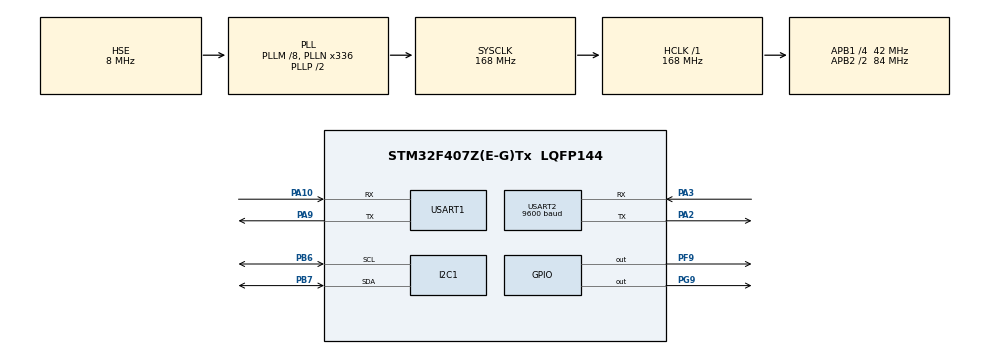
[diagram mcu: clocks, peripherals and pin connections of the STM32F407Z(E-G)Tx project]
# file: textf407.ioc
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FREERTOS.Mutexes01=myI2CMutex,Dynamic,NULL,Available
FREERTOS.Tasks01=SensorTask,1,1024,StartSensorTask,Default,NULL,Dynamic,NULL,NULL;DisplayTask,-2,512,StartDisplayTask,Default,NULL,Dynamic,NULL,NULL;CommTask,0,512,StartCommTask,Default,NULL,Dynamic,NULL,NULL
FREERTOS.configTOTAL_HEAP_SIZE=20480
I2C1.I2C_Mode=I2C_Fast
Mcu.Family=STM32F4
Mcu.Name=STM32F407Z(E-G)Tx
Mcu.Package=LQFP144
NVIC.PriorityGroup=NVIC_PRIORITYGROUP_4
NVIC.TIM6_DAC_IRQn=true\:15\:0\:false\:false\:true\:false\:false\:true\:true
NVIC.TimeBase=TIM6_DAC_IRQn
NVIC.TimeBaseIP=TIM6
NVIC.USART1_IRQn=true\:5\:0\:false\:false\:true\:true\:true\:true\:true
NVIC.USART2_IRQn=true\:5\:0\:false\:false\:true\:true\:true\:true\:true
PA10.Mode=Asynchronous
PA10.Signal=USART1_RX
PA13.Mode=Serial_Wire
PA13.Signal=SYS_JTMS-SWDIO
PA14.Mode=Serial_Wire
PA14.Signal=SYS_JTCK-SWCLK
PA2.Mode=Asynchronous
PA2.Signal=USART2_TX
PA3.Mode=Asynchronous
PA3.Signal=USART2_RX
PA9.Mode=Asynchronous
PA9.Signal=USART1_TX
PB6.Mode=I2C
PB6.Signal=I2C1_SCL
PB7.Mode=I2C
PB7.Signal=I2C1_SDA
PF9.GPIO_ModeDefaultOutputPP=GPIO_MODE_OUTPUT_PP
PF9.GPIO_PuPd=GPIO_NOPULL
PF9.Signal=GPIO_Output
PG9.GPIO_ModeDefaultOutputPP=GPIO_MODE_OUTPUT_PP
PG9.GPIO_PuPd=GPIO_PULLUP
PG9.GPIO_Speed=GPIO_SPEED_FREQ_HIGH
PG9.Signal=GPIO_Output
PH0-OSC_IN.Mode=HSE-External-Oscillator
PH0-OSC_IN.Signal=RCC_OSC_IN
PH1-OSC_OUT.Mode=HSE-External-Oscillator
PH1-OSC_OUT.Signal=RCC_OSC_OUT
ProjectManager.HeapSize=0x200
ProjectManager.StackSize=0x400
ProjectManager.TargetToolchain=MDK-ARM V5.32
RCC.48MHZClocksFreq_Value=84000000
RCC.AHBFreq_Value=168000000
RCC.APB1CLKDivider=RCC_HCLK_DIV4
RCC.APB1Freq_Value=42000000
RCC.APB1TimFreq_Value=84000000
RCC.APB2CLKDivider=RCC_HCLK_DIV2
RCC.APB2Freq_Value=84000000
RCC.APB2TimFreq_Value=168000000
RCC.CortexFreq_Value=168000000
RCC.HCLKFreq_Value=168000000
RCC.HSE_VALUE=8000000
RCC.HSI_VALUE=16000000
RCC.LSE_VALUE=32768
RCC.PLLM=8
RCC.PLLN=336
RCC.PLLSourceVirtual=RCC_PLLSOURCE_HSE
RCC.SYSCLKFreq_VALUE=168000000
RCC.SYSCLKSource=RCC_SYSCLKSOURCE_PLLCLK
RCC.VCOOutputFreq_Value=336000000
USART1.VirtualMode=VM_ASYNC
USART2.BaudRate=9600
USART2.VirtualMode=VM_ASYNC
VP_FREERTOS_VS_CMSIS_V1.Mode=CMSIS_V1
VP_SYS_VS_tim6.Mode=TIM6
board=custom

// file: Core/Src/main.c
/* USER CODE BEGIN Header */
/**
  ******************************************************************************
  * @file           : main.c
  * @brief          : Main program body
  ******************************************************************************
  * @attention
  *
  * Copyright (c) 2026 STMicroelectronics.
  * All rights reserved.
  *
  * This software is licensed under terms that can be found in the LICENSE file
  * in the root directory of this software component.
  * If no LICENSE file comes with this software, it is provided AS-IS.
  *
  ******************************************************************************
  */
/* USER CODE END Header */
#include "main.h"
#include "cmsis_os.h"
#include "i2c.h"
#include "usart.h"
#include "gpio.h"

/* USER CODE BEGIN Includes */
#include <stdio.h>
#include <string.h>
#include "SendMessage.h"
#include "dht11.h"
#include "BH1750.h"
#include "oled.h"
/* USER CODE END Includes */

/* USER CODE BEGIN PV */
// --- 全局共享数据区 ---
// 加 volatile 防止编译器过度优化
volatile DHT11_Data_t g_SensorData = {0};
volatile float g_LightLux = 0.0f;

// 引入 CubeMX 生成的互斥锁句柄
extern osMutexId myI2CMutexHandle;
/* USER CODE END PV */

void SystemClock_Config(void);
void MX_FREERTOS_Init(void);

int main(void)
{

  /* MCU Configuration--------------------------------------------------------*/

  /* Reset of all peripherals, Initializes the Flash interface and the Systick. */
  HAL_Init();

  /* Configure the system clock */
  SystemClock_Config();

  /* Initialize all configured peripherals */
  MX_GPIO_Init();
  MX_USART1_UART_Init();
  MX_I2C1_Init();
  MX_USART2_UART_Init();
  /* USER CODE BEGIN 2 */
	SendMessage_Init();
	//	初始化
	DHT11_Init();

	BH1750_Init();

	OLED_Init();
  OLED_Clear();
  OLED_ShowString(0, 0, "Init...", 16,1);
  OLED_Refresh(); // 确保显存刷出去了

	HAL_Delay(500);
	//定义命令
	int command = 1;
  /* USER CODE END 2 */

  /* Call init function for freertos objects (in cmsis_os2.c) */
  MX_FREERTOS_Init();

  /* Start scheduler */
  osKernelStart();

  /* We should never get here as control is now taken by the scheduler */

  /* Infinite loop */
  while (1)
  {

  }
}

void SystemClock_Config(void)
{
  RCC_OscInitTypeDef RCC_OscInitStruct = {0};
  RCC_ClkInitTypeDef RCC_ClkInitStruct = {0};

  /** Configure the main internal regulator output voltage
  */
  __HAL_RCC_PWR_CLK_ENABLE();
  __HAL_PWR_VOLTAGESCALING_CONFIG(PWR_REGULATOR_VOLTAGE_SCALE1);

  /** Initializes the RCC Oscillators according to the specified parameters
  * in the RCC_OscInitTypeDef structure.
  */
  RCC_OscInitStruct.OscillatorType = RCC_OSCILLATORTYPE_HSE;
  RCC_OscInitStruct.HSEState = RCC_HSE_ON;
  RCC_OscInitStruct.PLL.PLLState = RCC_PLL_ON;
  RCC_OscInitStruct.PLL.PLLSource = RCC_PLLSOURCE_HSE;
  RCC_OscInitStruct.PLL.PLLM = 8;
  RCC_OscInitStruct.PLL.PLLN = 336;
  RCC_OscInitStruct.PLL.PLLP = RCC_PLLP_DIV2;
  RCC_OscInitStruct.PLL.PLLQ = 4;
  if (HAL_RCC_OscConfig(&RCC_OscInitStruct) != HAL_OK)
  {
    Error_Handler();
  }

  /** Initializes the CPU, AHB and APB buses clocks
  */
  RCC_ClkInitStruct.ClockType = RCC_CLOCKTYPE_HCLK|RCC_CLOCKTYPE_SYSCLK
                              |RCC_CLOCKTYPE_PCLK1|RCC_CLOCKTYPE_PCLK2;
  RCC_ClkInitStruct.SYSCLKSource = RCC_SYSCLKSOURCE_PLLCLK;
  RCC_ClkInitStruct.AHBCLKDivider = RCC_SYSCLK_DIV1;
  RCC_ClkInitStruct.APB1CLKDivider = RCC_HCLK_DIV4;
  RCC_ClkInitStruct.APB2CLKDivider = RCC_HCLK_DIV2;

  if (HAL_RCC_ClockConfig(&RCC_ClkInitStruct, FLASH_LATENCY_5) != HAL_OK)
  {
    Error_Handler();
  }
}

void HAL_TIM_PeriodElapsedCallback(TIM_HandleTypeDef *htim)
{
  if (htim->Instance == TIM6)
  {
    HAL_IncTick();
  }
}

void Error_Handler(void)
{
  __disable_irq();
  while (1)
  {
  }
}

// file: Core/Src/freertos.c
/* USER CODE BEGIN Header */
/**
  ******************************************************************************
  * File Name          : freertos.c
  * Description        : Code for freertos applications
  ******************************************************************************
  * @attention
  *
  * Copyright (c) 2026 STMicroelectronics.
  * All rights reserved.
  *
  * This software is licensed under terms that can be found in the LICENSE file
  * in the root directory of this software component.
  * If no LICENSE file comes with this software, it is provided AS-IS.
  *
  ******************************************************************************
  */
/* USER CODE END Header */

#include "FreeRTOS.h"
#include "task.h"
#include "main.h"
#include "cmsis_os.h"

/* USER CODE BEGIN Includes */
#include "dht11.h"
#include "BH1750.h"
#include "oled.h"
#include "SendMessage.h"
#include <stdio.h>

extern volatile DHT11_Data_t g_SensorData;
extern volatile float g_LightLux;
extern void OLED_Show_EnvData(DHT11_Data_t *dht, float light_lux); // 引用你的显示辅助函数
/* USER CODE END Includes */

osThreadId SensorTaskHandle;
osThreadId DisplayTaskHandle;
osThreadId CommTaskHandle;
osMutexId myI2CMutexHandle;

void StartSensorTask(void const * argument);
void StartDisplayTask(void const * argument);
void StartCommTask(void const * argument);

void MX_FREERTOS_Init(void); /* (MISRA C 2004 rule 8.1) */

/* GetIdleTaskMemory prototype (linked to static allocation support) */
void vApplicationGetIdleTaskMemory( StaticTask_t **ppxIdleTaskTCBBuffer, StackType_t **ppxIdleTaskStackBuffer, uint32_t *pulIdleTaskStackSize );

/* USER CODE BEGIN GET_IDLE_TASK_MEMORY */
static StaticTask_t xIdleTaskTCBBuffer;
static StackType_t xIdleStack[configMINIMAL_STACK_SIZE];

void vApplicationGetIdleTaskMemory( StaticTask_t **ppxIdleTaskTCBBuffer, StackType_t **ppxIdleTaskStackBuffer, uint32_t *pulIdleTaskStackSize )
{
  *ppxIdleTaskTCBBuffer = &xIdleTaskTCBBuffer;
  *ppxIdleTaskStackBuffer = &xIdleStack[0];
  *pulIdleTaskStackSize = configMINIMAL_STACK_SIZE;
  /* place for user code */
}
/* USER CODE END GET_IDLE_TASK_MEMORY */

void MX_FREERTOS_Init(void) {
  /* Create the mutex(es) */
  /* definition and creation of myI2CMutex */
  osMutexDef(myI2CMutex);
  myI2CMutexHandle = osMutexCreate(osMutex(myI2CMutex));

  /* Create the thread(s) */
  /* definition and creation of SensorTask */
  osThreadDef(SensorTask, StartSensorTask, osPriorityAboveNormal, 0, 1024);
  SensorTaskHandle = osThreadCreate(osThread(SensorTask), NULL);

  /* definition and creation of DisplayTask */
  osThreadDef(DisplayTask, StartDisplayTask, osPriorityLow, 0, 512);
  DisplayTaskHandle = osThreadCreate(osThread(DisplayTask), NULL);

  /* definition and creation of CommTask */
  osThreadDef(CommTask, StartCommTask, osPriorityNormal, 0, 512);
  CommTaskHandle = osThreadCreate(osThread(CommTask), NULL);

}

void StartSensorTask(void const * argument)
{
  /* USER CODE BEGIN StartSensorTask */

	DHT11_Data_t temp_dht;
  float temp_lux;
  /* Infinite loop */
  for(;;)
  {
		// --- 1. 读取 BH1750 (需要 I2C 锁) ---
    // osWaitForever 表示死等直到拿到锁

    osMutexWait(myI2CMutexHandle, osWaitForever);
    temp_lux = BH1750_ReadLux();
    osMutexRelease(myI2CMutexHandle); // 释放锁

    // --- 2. 读取 DHT11 (时序敏感，关中断保护) ---
    // 进入临界区，暂停所有中断和任务切换
    taskENTER_CRITICAL();
    uint8_t res = DHT11_Read_Data(&temp_dht);
    taskEXIT_CRITICAL(); // 退出临界区
    // --- 3. 更新全局变量 ---
    // 只有读取成功才更新，避免显示错误数据
    if(res == 0) {
        g_SensorData = temp_dht;
    }
    // BH1750 读取失败可能会返回特殊值，简单起见直接赋值
    g_LightLux = temp_lux;

    // --- 4. 采样周期 ---
    // DHT11 必须间隔 2秒以上
    osDelay(2000);
  }
  /* USER CODE END StartSensorTask */
}

void StartDisplayTask(void const * argument)
{
  /* USER CODE BEGIN StartDisplayTask */
  /* Infinite loop */
  for(;;)
  {
		// --- 1. 获取 I2C 锁 ---
    // 只有拿到锁，才能操作 OLED，防止打断 BH1750 的通信
    osMutexWait(myI2CMutexHandle, osWaitForever);

    // --- 2. 刷屏 ---
    // 使用全局变量 g_SensorData 和 g_LightLux
    // 注意：这个函数里包含了 OLED_Refresh，涉及大量 I2C 写操作
    OLED_Show_EnvData((DHT11_Data_t*)&g_SensorData, g_LightLux);

    // --- 3. 释放锁 ---
    osMutexRelease(myI2CMutexHandle);

    // --- 4. 刷新率 ---
    // 屏幕不需要像传感器那么快，500ms 足够流畅
    osDelay(500);
  }
  /* USER CODE END StartDisplayTask */
}

void StartCommTask(void const * argument)
{
  /* USER CODE BEGIN StartCommTask */
	int command = 1; // 定义的命令字

  // 等待传感器先采集一轮数据，避免一开始发 0
  osDelay(2500);
  /* Infinite loop */
  for(;;)
  {
		// --- 1. 发送到电脑 (UART1) ---
    // 这里使用局部副本来发送，防止发送过程中全局变量被修改（虽然概率低）
    DHT11_Data_t dht = g_SensorData;
    float lux = g_LightLux;

    SendMessage_Printf(
        "Temperature:%d.%d Humidity:%d.%d Light:%.1f\r\n",
        dht.temperature, dht.temp_dec,
        dht.humidity, dht.humi_dec,
        lux
    );

    // --- 2. 发送到 ESP32 (UART2) ---
    SendMessage_Printf2(
        "%d.%d,%d.%d,%d,%.1f",
        dht.temperature, dht.temp_dec,
        dht.humidity, dht.humi_dec,
        command, lux
    );

    // --- 3. 上传频率 ---
    // 云平台通常不需要太快，5秒一次比较合适，避免频繁发包
    osDelay(5000);
  }
  /* USER CODE END StartCommTask */
}
